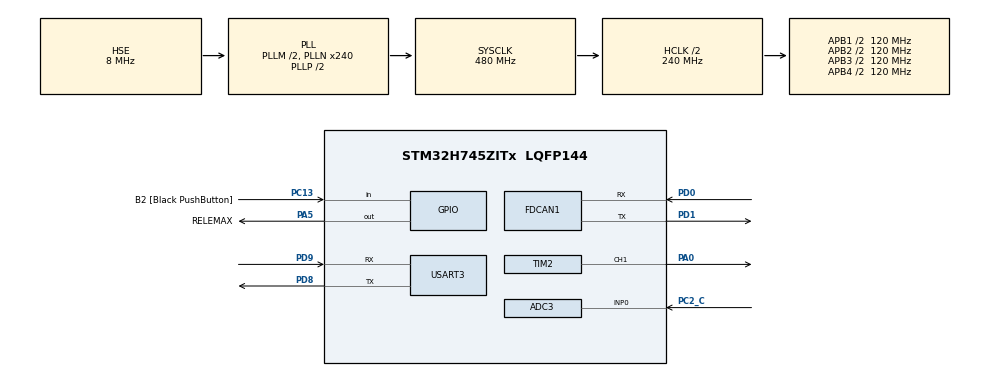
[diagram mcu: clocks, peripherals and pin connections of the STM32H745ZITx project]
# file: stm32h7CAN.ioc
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ADC3.Channel-0\#ChannelRegularConversion=ADC_CHANNEL_0
ADC3.NbrOfConversionFlag=1
ADC3.OffsetNumber-0\#ChannelRegularConversion=ADC_OFFSET_NONE
ADC3.OffsetSignedSaturation-0\#ChannelRegularConversion=DISABLE
ADC3.Rank-0\#ChannelRegularConversion=1
ADC3.Resolution=ADC_RESOLUTION_14B
ADC3.SamplingTime-0\#ChannelRegularConversion=ADC_SAMPLETIME_1CYCLE_5
CortexM4.IPs=BDMA,CORTEX_M4\:I,DEBUG,DMA,FATFS_M4\:I,FREERTOS_M4\:I,GPIO,IWDG2\:I,MDMA,NVIC2\:I,OPENAMP_M4\:I,PDM2PCM_M4\:I,PWR,RCC,RESMGR_UTILITY,SYS_M4\:I,USB_DEVICE_M4\:I,USB_HOST_M4\:I,VREFBUF,WWDG2\:I
CortexM7.IPs=BDMA\:I,CORTEX_M7\:I,DEBUG\:I,DMA\:I,FATFS_M7\:I,FREERTOS_M7\:I,GPIO\:I,IWDG1\:I,MDMA\:I,NVIC1\:I,OPENAMP_M7\:I,PDM2PCM_M7\:I,PWR\:I,RCC\:I,RESMGR_UTILITY\:I,SYS\:I,USB_DEVICE_M7\:I,USB_HOST_M7\:I,VREFBUF\:I,WWDG1\:I,FDCAN1\:I,USART3\:I,TIM2\:I,ADC3\:I
CortexM7.Pins=PC13,PA5
FDCAN1.CalculateBaudRateNominal=250000
FDCAN1.CalculateTimeBitNominal=4000
FDCAN1.CalculateTimeQuantumNominal=50.0
FDCAN1.NominalPrescaler=2
FDCAN1.NominalSyncJumpWidth=8
FDCAN1.NominalTimeSeg1=0x3F
FDCAN1.NominalTimeSeg2=16
FDCAN1.ProtocolException=ENABLE
FDCAN1.RxFifo0ElmtsNbr=1
FDCAN1.StdFiltersNbr=1
FDCAN1.TxFifoQueueElmtsNbr=1
Mcu.Family=STM32H7
Mcu.Name=STM32H745ZITx
Mcu.Package=LQFP144
NVIC1.PriorityGroup=NVIC_PRIORITYGROUP_4
NVIC2.PriorityGroup=NVIC_PRIORITYGROUP_4
PA0.PinAttribute=CortexM7
PA0.Signal=S_TIM2_CH1_ETR
PA5.GPIO_Label=RELEMAX
PA5.GPIO_PuPd=GPIO_PULLDOWN
PA5.PinAttribute=CortexM7
PA5.Signal=GPIO_Output
PC13.GPIO_Label=B2 [Black PushButton]
PC13.PinAttribute=CortexM7
PC13.Signal=GPIO_Input
PC14-OSC32_IN\ (OSC32_IN).Mode=LSE-External-Oscillator
PC14-OSC32_IN\ (OSC32_IN).PinAttribute=CortexM7
PC14-OSC32_IN\ (OSC32_IN).Signal=RCC_OSC32_IN
PC15-OSC32_OUT\ (OSC32_OUT).Mode=LSE-External-Oscillator
PC15-OSC32_OUT\ (OSC32_OUT).PinAttribute=CortexM7
PC15-OSC32_OUT\ (OSC32_OUT).Signal=RCC_OSC32_OUT
PC2_C.Mode=IN0-Single-Ended
PC2_C.PinAttribute=CortexM7
PC2_C.Signal=ADC3_INP0
PD0.Mode=FDCAN_Activate
PD0.PinAttribute=CortexM7
PD0.Signal=FDCAN1_RX
PD1.Mode=FDCAN_Activate
PD1.PinAttribute=CortexM7
PD1.Signal=FDCAN1_TX
PD8.Mode=Asynchronous
PD8.PinAttribute=CortexM7
PD8.Signal=USART3_TX
PD9.Mode=Asynchronous
PD9.PinAttribute=CortexM7
PD9.Signal=USART3_RX
PH0-OSC_IN\ (PH0).Mode=HSE-External-Oscillator
PH0-OSC_IN\ (PH0).PinAttribute=CortexM7
PH0-OSC_IN\ (PH0).Signal=RCC_OSC_IN
PH1-OSC_OUT\ (PH1).Mode=HSE-External-Oscillator
PH1-OSC_OUT\ (PH1).PinAttribute=CortexM7
PH1-OSC_OUT\ (PH1).Signal=RCC_OSC_OUT
ProjectManager.HeapSize=M4-0x200,M7-0x200
ProjectManager.StackSize=M4-0x400,M7-0x400
ProjectManager.TargetToolchain=STM32CubeIDE
RCC.ADCFreq_Value=76000000
RCC.APB1Freq_Value=120000000
RCC.APB2Freq_Value=120000000
RCC.APB3Freq_Value=120000000
RCC.APB4Freq_Value=120000000
RCC.CortexFreq_Value=480000000
RCC.D1PPRE=RCC_APB3_DIV2
RCC.D2PPRE1=RCC_APB1_DIV2
RCC.D2PPRE2=RCC_APB2_DIV2
RCC.D3PPRE=RCC_APB4_DIV2
RCC.DIVM1=2
RCC.DIVM2=1
RCC.DIVN1=240
RCC.DIVN2=19
RCC.DIVQ1=24
RCC.HCLKFreq_Value=240000000
RCC.HPRE=RCC_HCLK_DIV2
RCC.HSE_VALUE=8000000
RCC.PLLSourceVirtual=RCC_PLLSOURCE_HSE
RCC.SYSCLKFreq_VALUE=480000000
RCC.SYSCLKSource=RCC_SYSCLKSOURCE_PLLCLK
RCC.USBFreq_Value=40000000
SH.S_TIM2_CH1_ETR.0=TIM2_CH1,PWM Generation1 CH1
TIM2.Channel-PWM\ Generation1\ CH1=TIM_CHANNEL_1
TIM2.Period=65535
USART3.VirtualMode-Asynchronous=VM_ASYNC
VP_TIM2_VS_ClockSourceINT.Mode=Internal
board=custom

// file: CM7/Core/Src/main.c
/* USER CODE BEGIN Header */
/**
  ******************************************************************************
  * @file           : main.c
  * @brief          : Main program body
  ******************************************************************************
  * @attention
  *
  * Copyright (c) 2022 STMicroelectronics.
  * All rights reserved.
  *
  * This software is licensed under terms that can be found in the LICENSE file
  * in the root directory of this software component.
  * If no LICENSE file comes with this software, it is provided AS-IS.
  *
  ******************************************************************************
  */
/* USER CODE END Header */
#include "main.h"

/* USER CODE BEGIN Includes */
#include <stdio.h>
/* USER CODE END Includes */

/* USER CODE BEGIN PD */

#ifndef HSEM_ID_0
#define HSEM_ID_0 (0U) /* HW semaphore 0*/
#endif
/* USER CODE END PD */

ADC_HandleTypeDef hadc3;

FDCAN_HandleTypeDef hfdcan1;

TIM_HandleTypeDef htim2;

UART_HandleTypeDef huart3;

/* USER CODE BEGIN PV */
FDCAN_FilterTypeDef sFilterConfig;
FDCAN_TxHeaderTypeDef TxHeader;
FDCAN_RxHeaderTypeDef RxHeader;
uint8_t TxData[8] = {0xAA, 0xBB, 0xCC, 0xDD, 0xEE, 0x20, 0x12, 0x34};
uint8_t RxData[8];

/* USER CODE END PV */

void SystemClock_Config(void);
static void MX_GPIO_Init(void);
static void MX_FDCAN1_Init(void);
static void MX_USART3_UART_Init(void);
static void MX_ADC3_Init(void);
static void MX_TIM2_Init(void);
/* USER CODE BEGIN PFP */
int _write( int file, char *ptr, int len ){
	int DataIdx;
	for (DataIdx = 0; DataIdx < len; DataIdx++){
		HAL_UART_Transmit(&huart3, ( uint8_t *)ptr++, 1, HAL_UART_TIMEOUT_VALUE);
	}
	return len;
}
/* USER CODE END PFP */

int main(void)
{
/* USER CODE BEGIN Boot_Mode_Sequence_0 */
  int32_t timeout;
/* USER CODE END Boot_Mode_Sequence_0 */

/* USER CODE BEGIN Boot_Mode_Sequence_1 */
  /* Wait until CPU2 boots and enters in stop mode or timeout*/
  timeout = 0xFFFF;
  while((__HAL_RCC_GET_FLAG(RCC_FLAG_D2CKRDY) != RESET) && (timeout-- > 0));
  if ( timeout < 0 )
  {
  Error_Handler();
  }
/* USER CODE END Boot_Mode_Sequence_1 */
  /* MCU Configuration--------------------------------------------------------*/

  /* Reset of all peripherals, Initializes the Flash interface and the Systick. */
  HAL_Init();

  /* Configure the system clock */
  SystemClock_Config();
/* USER CODE BEGIN Boot_Mode_Sequence_2 */
/* When system initialization is finished, Cortex-M7 will release Cortex-M4 by means of
HSEM notification */
/*HW semaphore Clock enable*/
__HAL_RCC_HSEM_CLK_ENABLE();
/*Take HSEM */
HAL_HSEM_FastTake(HSEM_ID_0);
/*Release HSEM in order to notify the CPU2(CM4)*/
HAL_HSEM_Release(HSEM_ID_0,0);
/* wait until CPU2 wakes up from stop mode */
timeout = 0xFFFF;
while((__HAL_RCC_GET_FLAG(RCC_FLAG_D2CKRDY) == RESET) && (timeout-- > 0));
if ( timeout < 0 )
{
Error_Handler();
}
/* USER CODE END Boot_Mode_Sequence_2 */

  /* Initialize all configured peripherals */
  MX_GPIO_Init();
  MX_FDCAN1_Init();
  MX_USART3_UART_Init();
  MX_ADC3_Init();
  MX_TIM2_Init();
  /* USER CODE BEGIN 2 */

  //___________________________SENSOR AND PWM VARIABLES::::
  HAL_TIM_PWM_Start(&htim2, TIM_CHANNEL_1);
  uint16_t AD_RES=0; //SE INICIALIZA
  uint16_t transPSI = 150; //FIJO AL VALOR DEL SENSOR
  uint16_t maxPress = 16384; //2^14
  uint16_t zeroPress = 1850; //VALOR MODIFICABLE
  float pressure;
  //Global variables
  float e=0.0,e_1=0.0,u=0.0,u_1=0.0;
  float kp,ti,q0,q1;
  float R;
  uint8_t CAN_SET;

  //________________________PID initialization::::

  void PID_Initialize( void ){
      float T = 1;//			sample rate 1 sec

      //Calculate the coefficients for the discrete PID controller
      kp = 5.0886;
      ti = 19.5063;
      q0 = kp + ((kp * T)/(2.0 * ti));
      q1 = ((kp * T)/(2.0 * ti)) - kp;
  }

  //________________________PID managment::::
  float PID_Discrete( float yM ){
     // float R = 20;//			set-point
	  R=CAN_SET;
	  printf("CAN DEC SETPOINT:%f  \n\r",R);

      e = R - yM;//				calculate the error
      //printf(" E:%f",e);
      u = u_1 + q0*e + q1*e_1;//	discrete PID controller
      //u=10*e;
      //printf("U:%f",u);
      //Saturate the controller with upper and lower limits
      if(u >= 100)// 			maximum pressure value
          u = 90;
      if(u <= 0)//			minimum pressure value
          u = 30;
      //Update the values for the next iteration
      e_1 = e;
      u_1 = u;

      return u;
  }

  /* USER CODE END 2 */

  /* Infinite loop */
  /* USER CODE BEGIN WHILE */
  while(1){

		//______________________-CANNNN RX_____________________________-

		HAL_FDCAN_GetRxMessage(&hfdcan1, FDCAN_RX_FIFO0, &RxHeader, RxData);
		HAL_Delay(10);
		printf("\n\rCAN ID: %lx \n\r", RxHeader.Identifier);

		int dataSize = RxHeader.DataLength >>  16;
		for (int i = 0; i < dataSize; i ++)
		{
			printf(" %x", RxData[i]);

		}
		printf(" \n\r");

		//printf("CAN HEX SETPOINT: %x \n\r", RxData[5]);
		CAN_SET=RxData[5]-22;
		//______________________-CANNNN  RX_____________________________-

	//__________________________SENSOR::::

	  printf("_-_-_-_-_-_-_-_-_-_-_-_ \n\r");
	  HAL_ADC_Start(&hadc3);
	  HAL_ADC_PollForConversion(&hadc3, 1); //1ms
	  AD_RES= HAL_ADC_GetValue(&hadc3);
	  //printf ("PRESSURE RAW: %d \n\r", AD_RES);

	  pressure= ((AD_RES-zeroPress)*transPSI)/(maxPress-zeroPress);

	  //__________________________SENSOR::::

	  //__________________________CAN_TX::::

	  printf ("PRESSURE: %f \n\r", pressure);
	  HAL_Delay(1000);
	  float W=PID_Discrete(pressure);
	  uint8_t send=pressure+22;
	  uint8_t TxData[8] = {0xAA, 0xBB, 0xCC, 0xDD, 0xEE, send, 0x12, 0x34};
	  HAL_FDCAN_AddMessageToTxFifoQ(&hfdcan1, &TxHeader, TxData);
	  HAL_Delay(100);
	  //__________________________CAN_TX::::

	  //__________________________PWM BEHAVIOR::::

	  //printf ("W: %f \n\r", W);
	  float PWM= W*655.35;

	  int32_t PWF=(int32_t)PWM;
	  printf ("PWF: %ld \n\r", PWF);

	  TIM2->CCR1 = PWF;
	  HAL_Delay(1);
	  //__________________________PWM BEHAVIOR::::

	  //__________________________SOLENOID RELEASE CONDITIONS::::

	  if(R+.5<pressure){
		  HAL_GPIO_WritePin(GPIOA, RELEMAX_Pin, GPIO_PIN_RESET);
		  HAL_Delay(100);
		  printf("RELEASE-YES");
		  HAL_GPIO_WritePin(GPIOA, RELEMAX_Pin, GPIO_PIN_SET);
	  }

	  else{
		  HAL_GPIO_WritePin(GPIOA, RELEMAX_Pin, GPIO_PIN_SET);
		  HAL_Delay(10);
		  printf("RELEASE-NO");

	  }
	  //__________________________SOLENOID RELEASE CONDITIONS::::

    /* USER CODE END WHILE */

  }
}

void SystemClock_Config(void)
{
  RCC_OscInitTypeDef RCC_OscInitStruct = {0};
  RCC_ClkInitTypeDef RCC_ClkInitStruct = {0};

  /** Supply configuration update enable
  */
  HAL_PWREx_ConfigSupply(PWR_DIRECT_SMPS_SUPPLY);

  /** Configure the main internal regulator output voltage
  */
  __HAL_PWR_VOLTAGESCALING_CONFIG(PWR_REGULATOR_VOLTAGE_SCALE0);

  while(!__HAL_PWR_GET_FLAG(PWR_FLAG_VOSRDY)) {}

  /** Macro to configure the PLL clock source
  */
  __HAL_RCC_PLL_PLLSOURCE_CONFIG(RCC_PLLSOURCE_HSE);

  /** Initializes the RCC Oscillators according to the specified parameters
  * in the RCC_OscInitTypeDef structure.
  */
  RCC_OscInitStruct.OscillatorType = RCC_OSCILLATORTYPE_HSE;
  RCC_OscInitStruct.HSEState = RCC_HSE_ON;
  RCC_OscInitStruct.PLL.PLLState = RCC_PLL_ON;
  RCC_OscInitStruct.PLL.PLLSource = RCC_PLLSOURCE_HSE;
  RCC_OscInitStruct.PLL.PLLM = 2;
  RCC_OscInitStruct.PLL.PLLN = 240;
  RCC_OscInitStruct.PLL.PLLP = 2;
  RCC_OscInitStruct.PLL.PLLQ = 24;
  RCC_OscInitStruct.PLL.PLLR = 2;
  RCC_OscInitStruct.PLL.PLLRGE = RCC_PLL1VCIRANGE_2;
  RCC_OscInitStruct.PLL.PLLVCOSEL = RCC_PLL1VCOWIDE;
  RCC_OscInitStruct.PLL.PLLFRACN = 0;
  if (HAL_RCC_OscConfig(&RCC_OscInitStruct) != HAL_OK)
  {
    Error_Handler();
  }

  /** Initializes the CPU, AHB and APB buses clocks
  */
  RCC_ClkInitStruct.ClockType = RCC_CLOCKTYPE_HCLK|RCC_CLOCKTYPE_SYSCLK
                              |RCC_CLOCKTYPE_PCLK1|RCC_CLOCKTYPE_PCLK2
                              |RCC_CLOCKTYPE_D3PCLK1|RCC_CLOCKTYPE_D1PCLK1;
  RCC_ClkInitStruct.SYSCLKSource = RCC_SYSCLKSOURCE_PLLCLK;
  RCC_ClkInitStruct.SYSCLKDivider = RCC_SYSCLK_DIV1;
  RCC_ClkInitStruct.AHBCLKDivider = RCC_HCLK_DIV2;
  RCC_ClkInitStruct.APB3CLKDivider = RCC_APB3_DIV2;
  RCC_ClkInitStruct.APB1CLKDivider = RCC_APB1_DIV2;
  RCC_ClkInitStruct.APB2CLKDivider = RCC_APB2_DIV2;
  RCC_ClkInitStruct.APB4CLKDivider = RCC_APB4_DIV2;

  if (HAL_RCC_ClockConfig(&RCC_ClkInitStruct, FLASH_LATENCY_4) != HAL_OK)
  {
    Error_Handler();
  }
}

static void MX_ADC3_Init(void)
{

  ADC_ChannelConfTypeDef sConfig = {0};

  /** Common config
  */
  hadc3.Instance = ADC3;
  hadc3.Init.Resolution = ADC_RESOLUTION_14B;
  hadc3.Init.ScanConvMode = ADC_SCAN_DISABLE;
  hadc3.Init.EOCSelection = ADC_EOC_SINGLE_CONV;
  hadc3.Init.LowPowerAutoWait = DISABLE;
  hadc3.Init.ContinuousConvMode = DISABLE;
  hadc3.Init.NbrOfConversion = 1;
  hadc3.Init.DiscontinuousConvMode = DISABLE;
  hadc3.Init.ExternalTrigConv = ADC_SOFTWARE_START;
  hadc3.Init.ExternalTrigConvEdge = ADC_EXTERNALTRIGCONVEDGE_NONE;
  hadc3.Init.ConversionDataManagement = ADC_CONVERSIONDATA_DR;
  hadc3.Init.Overrun = ADC_OVR_DATA_PRESERVED;
  hadc3.Init.LeftBitShift = ADC_LEFTBITSHIFT_NONE;
  hadc3.Init.OversamplingMode = DISABLE;
  if (HAL_ADC_Init(&hadc3) != HAL_OK)
  {
    Error_Handler();
  }

  /** Configure Regular Channel
  */
  sConfig.Channel = ADC_CHANNEL_0;
  sConfig.Rank = ADC_REGULAR_RANK_1;
  sConfig.SamplingTime = ADC_SAMPLETIME_1CYCLE_5;
  sConfig.SingleDiff = ADC_SINGLE_ENDED;
  sConfig.OffsetNumber = ADC_OFFSET_NONE;
  sConfig.Offset = 0;
  sConfig.OffsetSignedSaturation = DISABLE;
  if (HAL_ADC_ConfigChannel(&hadc3, &sConfig) != HAL_OK)
  {
    Error_Handler();
  }

}

static void MX_FDCAN1_Init(void)
{

  hfdcan1.Instance = FDCAN1;
  hfdcan1.Init.FrameFormat = FDCAN_FRAME_CLASSIC;
  hfdcan1.Init.Mode = FDCAN_MODE_NORMAL;
  hfdcan1.Init.AutoRetransmission = DISABLE;
  hfdcan1.Init.TransmitPause = DISABLE;
  hfdcan1.Init.ProtocolException = ENABLE;
  hfdcan1.Init.NominalPrescaler = 2;
  hfdcan1.Init.NominalSyncJumpWidth = 8;
  hfdcan1.Init.NominalTimeSeg1 = 0x3F;
  hfdcan1.Init.NominalTimeSeg2 = 16;
  hfdcan1.Init.DataPrescaler = 1;
  hfdcan1.Init.DataSyncJumpWidth = 1;
  hfdcan1.Init.DataTimeSeg1 = 1;
  hfdcan1.Init.DataTimeSeg2 = 1;
  hfdcan1.Init.MessageRAMOffset = 0;
  hfdcan1.Init.StdFiltersNbr = 1;
  hfdcan1.Init.ExtFiltersNbr = 0;
  hfdcan1.Init.RxFifo0ElmtsNbr = 1;
  hfdcan1.Init.RxFifo0ElmtSize = FDCAN_DATA_BYTES_8;
  hfdcan1.Init.RxFifo1ElmtsNbr = 0;
  hfdcan1.Init.RxFifo1ElmtSize = FDCAN_DATA_BYTES_8;
  hfdcan1.Init.RxBuffersNbr = 0;
  hfdcan1.Init.RxBufferSize = FDCAN_DATA_BYTES_8;
  hfdcan1.Init.TxEventsNbr = 0;
  hfdcan1.Init.TxBuffersNbr = 0;
  hfdcan1.Init.TxFifoQueueElmtsNbr = 1;
  hfdcan1.Init.TxFifoQueueMode = FDCAN_TX_FIFO_OPERATION;
  hfdcan1.Init.TxElmtSize = FDCAN_DATA_BYTES_8;
  if (HAL_FDCAN_Init(&hfdcan1) != HAL_OK)
  {
    Error_Handler();
  }
  /* USER CODE BEGIN FDCAN1_Init 2 */
  /* Configure Rx filter */
    sFilterConfig.IdType = FDCAN_STANDARD_ID;
    sFilterConfig.FilterIndex = 0;
    sFilterConfig.FilterType = FDCAN_FILTER_MASK;
    sFilterConfig.FilterConfig = FDCAN_FILTER_TO_RXFIFO0;
    //sFilterConfig.FilterID1 = ; //This is the Filter
    //sFilterConfig.FilterID2 = ; //This is the Mask

     /* Configure global filter to reject all non-matching frames */
     //HAL_FDCAN_ConfigGlobalFilter(&hfdcan1, FDCAN_REJECT, FDCAN_REJECT, FDCAN_REJECT_REMOTE, FDCAN_REJECT_REMOTE);

    if (HAL_FDCAN_ConfigFilter(&hfdcan1, &sFilterConfig) != HAL_OK)
    {
  	  /* Filter configuration Error */
        Error_Handler();
    }
    /* Start the FDCAN module */
    if (HAL_FDCAN_Start(&hfdcan1) != HAL_OK)
    {
  	  /* Start Error */
    }

    if (HAL_FDCAN_ActivateNotification(&hfdcan1, FDCAN_IT_RX_FIFO0_NEW_MESSAGE, 0) != HAL_OK)
    {
  	  /* Notification Error */
    }

    /* Configure Tx buffer message */
    TxHeader.Identifier = 0x18F00401;
    TxHeader.IdType = FDCAN_EXTENDED_ID;
    TxHeader.TxFrameType = FDCAN_DATA_FRAME;
    TxHeader.DataLength = FDCAN_DLC_BYTES_8;
    TxHeader.ErrorStateIndicator = FDCAN_ESI_ACTIVE;
    TxHeader.BitRateSwitch = FDCAN_BRS_ON;
    TxHeader.FDFormat = FDCAN_FD_CAN;
    TxHeader.TxEventFifoControl = FDCAN_NO_TX_EVENTS;
    TxHeader.MessageMarker = 0x00;

  /* USER CODE END FDCAN1_Init 2 */

}

static void MX_TIM2_Init(void)
{

  TIM_ClockConfigTypeDef sClockSourceConfig = {0};
  TIM_MasterConfigTypeDef sMasterConfig = {0};
  TIM_OC_InitTypeDef sConfigOC = {0};

  htim2.Instance = TIM2;
  htim2.Init.Prescaler = 0;
  htim2.Init.CounterMode = TIM_COUNTERMODE_UP;
  htim2.Init.Period = 65535;
  htim2.Init.ClockDivision = TIM_CLOCKDIVISION_DIV1;
  htim2.Init.AutoReloadPreload = TIM_AUTORELOAD_PRELOAD_DISABLE;
  if (HAL_TIM_Base_Init(&htim2) != HAL_OK)
  {
    Error_Handler();
  }
  sClockSourceConfig.ClockSource = TIM_CLOCKSOURCE_INTERNAL;
  if (HAL_TIM_ConfigClockSource(&htim2, &sClockSourceConfig) != HAL_OK)
  {
    Error_Handler();
  }
  if (HAL_TIM_PWM_Init(&htim2) != HAL_OK)
  {
    Error_Handler();
  }
  sMasterConfig.MasterOutputTrigger = TIM_TRGO_RESET;
  sMasterConfig.MasterSlaveMode = TIM_MASTERSLAVEMODE_DISABLE;
  if (HAL_TIMEx_MasterConfigSynchronization(&htim2, &sMasterConfig) != HAL_OK)
  {
    Error_Handler();
  }
  sConfigOC.OCMode = TIM_OCMODE_PWM1;
  sConfigOC.Pulse = 0;
  sConfigOC.OCPolarity = TIM_OCPOLARITY_HIGH;
  sConfigOC.OCFastMode = TIM_OCFAST_DISABLE;
  if (HAL_TIM_PWM_ConfigChannel(&htim2, &sConfigOC, TIM_CHANNEL_1) != HAL_OK)
  {
    Error_Handler();
  }
  HAL_TIM_MspPostInit(&htim2);

}

static void MX_USART3_UART_Init(void)
{

  huart3.Instance = USART3;
  huart3.Init.BaudRate = 115200;
  huart3.Init.WordLength = UART_WORDLENGTH_8B;
  huart3.Init.StopBits = UART_STOPBITS_1;
  huart3.Init.Parity = UART_PARITY_NONE;
  huart3.Init.Mode = UART_MODE_TX_RX;
  huart3.Init.HwFlowCtl = UART_HWCONTROL_NONE;
  huart3.Init.OverSampling = UART_OVERSAMPLING_16;
  huart3.Init.OneBitSampling = UART_ONE_BIT_SAMPLE_DISABLE;
  huart3.Init.ClockPrescaler = UART_PRESCALER_DIV1;
  huart3.AdvancedInit.AdvFeatureInit = UART_ADVFEATURE_NO_INIT;
  if (HAL_UART_Init(&huart3) != HAL_OK)
  {
    Error_Handler();
  }
  if (HAL_UARTEx_SetTxFifoThreshold(&huart3, UART_TXFIFO_THRESHOLD_1_8) != HAL_OK)
  {
    Error_Handler();
  }
  if (HAL_UARTEx_SetRxFifoThreshold(&huart3, UART_RXFIFO_THRESHOLD_1_8) != HAL_OK)
  {
    Error_Handler();
  }
  if (HAL_UARTEx_DisableFifoMode(&huart3) != HAL_OK)
  {
    Error_Handler();
  }

}

static void MX_GPIO_Init(void)
{
  GPIO_InitTypeDef GPIO_InitStruct = {0};

  /* GPIO Ports Clock Enable */
  __HAL_RCC_GPIOC_CLK_ENABLE();
  __HAL_RCC_GPIOH_CLK_ENABLE();
  __HAL_RCC_GPIOA_CLK_ENABLE();
  __HAL_RCC_GPIOD_CLK_ENABLE();

  /*Configure GPIO pin Output Level */
  HAL_GPIO_WritePin(RELEMAX_GPIO_Port, RELEMAX_Pin, GPIO_PIN_RESET);

  /*Configure GPIO pin : B2_Pin */
  GPIO_InitStruct.Pin = B2_Pin;
  GPIO_InitStruct.Mode = GPIO_MODE_INPUT;
  GPIO_InitStruct.Pull = GPIO_NOPULL;
  HAL_GPIO_Init(B2_GPIO_Port, &GPIO_InitStruct);

  /*Configure GPIO pin : RELEMAX_Pin */
  GPIO_InitStruct.Pin = RELEMAX_Pin;
  GPIO_InitStruct.Mode = GPIO_MODE_OUTPUT_PP;
  GPIO_InitStruct.Pull = GPIO_PULLDOWN;
  GPIO_InitStruct.Speed = GPIO_SPEED_FREQ_LOW;
  HAL_GPIO_Init(RELEMAX_GPIO_Port, &GPIO_InitStruct);

}

void Error_Handler(void)
{
  __disable_irq();
  while (1)
  {
  }
}
